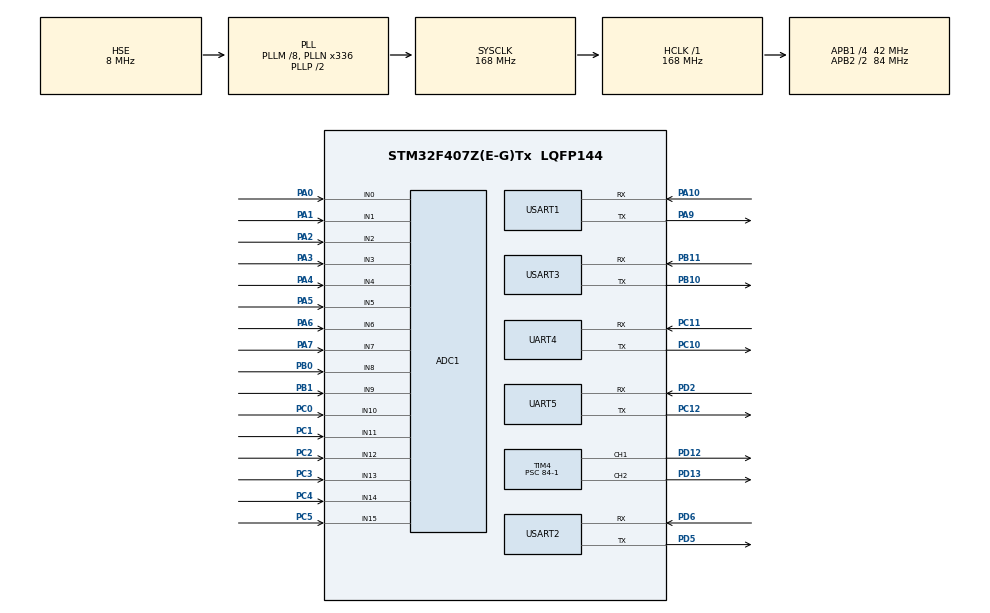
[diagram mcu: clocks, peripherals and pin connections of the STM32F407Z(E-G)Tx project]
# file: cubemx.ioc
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ADC1.Channel-62\#ChannelRegularConversion=ADC_CHANNEL_0
ADC1.Channel-63\#ChannelRegularConversion=ADC_CHANNEL_1
ADC1.Channel-64\#ChannelRegularConversion=ADC_CHANNEL_2
ADC1.Channel-65\#ChannelRegularConversion=ADC_CHANNEL_3
ADC1.Channel-66\#ChannelRegularConversion=ADC_CHANNEL_4
ADC1.Channel-67\#ChannelRegularConversion=ADC_CHANNEL_5
ADC1.Channel-68\#ChannelRegularConversion=ADC_CHANNEL_6
ADC1.Channel-69\#ChannelRegularConversion=ADC_CHANNEL_7
ADC1.Channel-70\#ChannelRegularConversion=ADC_CHANNEL_8
ADC1.Channel-71\#ChannelRegularConversion=ADC_CHANNEL_9
ADC1.Channel-72\#ChannelRegularConversion=ADC_CHANNEL_10
ADC1.Channel-73\#ChannelRegularConversion=ADC_CHANNEL_11
ADC1.Channel-74\#ChannelRegularConversion=ADC_CHANNEL_12
ADC1.Channel-75\#ChannelRegularConversion=ADC_CHANNEL_13
ADC1.Channel-76\#ChannelRegularConversion=ADC_CHANNEL_14
ADC1.Channel-77\#ChannelRegularConversion=ADC_CHANNEL_15
ADC1.DMAContinuousRequests=ENABLE
ADC1.EOCSelection=ADC_EOC_SEQ_CONV
ADC1.ExternalTrigConv=ADC_EXTERNALTRIGCONV_T3_TRGO
ADC1.NbrOfConversion=16
ADC1.NbrOfConversionFlag=1
ADC1.Rank-62\#ChannelRegularConversion=1
ADC1.Rank-63\#ChannelRegularConversion=2
ADC1.Rank-64\#ChannelRegularConversion=3
ADC1.Rank-65\#ChannelRegularConversion=4
ADC1.Rank-66\#ChannelRegularConversion=5
ADC1.Rank-67\#ChannelRegularConversion=6
ADC1.Rank-68\#ChannelRegularConversion=7
ADC1.Rank-69\#ChannelRegularConversion=8
ADC1.Rank-70\#ChannelRegularConversion=9
ADC1.Rank-71\#ChannelRegularConversion=10
ADC1.Rank-72\#ChannelRegularConversion=11
ADC1.Rank-73\#ChannelRegularConversion=12
ADC1.Rank-74\#ChannelRegularConversion=13
ADC1.Rank-75\#ChannelRegularConversion=14
ADC1.Rank-76\#ChannelRegularConversion=15
ADC1.Rank-77\#ChannelRegularConversion=16
ADC1.SamplingTime-62\#ChannelRegularConversion=ADC_SAMPLETIME_3CYCLES
ADC1.SamplingTime-63\#ChannelRegularConversion=ADC_SAMPLETIME_3CYCLES
ADC1.SamplingTime-64\#ChannelRegularConversion=ADC_SAMPLETIME_3CYCLES
ADC1.SamplingTime-65\#ChannelRegularConversion=ADC_SAMPLETIME_3CYCLES
ADC1.SamplingTime-66\#ChannelRegularConversion=ADC_SAMPLETIME_3CYCLES
ADC1.SamplingTime-67\#ChannelRegularConversion=ADC_SAMPLETIME_3CYCLES
ADC1.SamplingTime-68\#ChannelRegularConversion=ADC_SAMPLETIME_3CYCLES
ADC1.SamplingTime-69\#ChannelRegularConversion=ADC_SAMPLETIME_3CYCLES
ADC1.SamplingTime-70\#ChannelRegularConversion=ADC_SAMPLETIME_3CYCLES
ADC1.SamplingTime-71\#ChannelRegularConversion=ADC_SAMPLETIME_3CYCLES
ADC1.SamplingTime-72\#ChannelRegularConversion=ADC_SAMPLETIME_3CYCLES
ADC1.SamplingTime-73\#ChannelRegularConversion=ADC_SAMPLETIME_3CYCLES
ADC1.SamplingTime-74\#ChannelRegularConversion=ADC_SAMPLETIME_3CYCLES
ADC1.SamplingTime-75\#ChannelRegularConversion=ADC_SAMPLETIME_3CYCLES
ADC1.SamplingTime-76\#ChannelRegularConversion=ADC_SAMPLETIME_3CYCLES
ADC1.SamplingTime-77\#ChannelRegularConversion=ADC_SAMPLETIME_3CYCLES
ADC1.ScanConvMode=ENABLE
ADC1.master=1
Dma.ADC1.10.Direction=DMA_PERIPH_TO_MEMORY
Dma.ADC1.10.FIFOMode=DMA_FIFOMODE_DISABLE
Dma.ADC1.10.Instance=DMA2_Stream0
Dma.ADC1.10.MemDataAlignment=DMA_MDATAALIGN_WORD
Dma.ADC1.10.MemInc=DMA_MINC_ENABLE
Dma.ADC1.10.Mode=DMA_CIRCULAR
Dma.ADC1.10.PeriphDataAlignment=DMA_PDATAALIGN_WORD
Dma.ADC1.10.PeriphInc=DMA_PINC_DISABLE
Dma.ADC1.10.Priority=DMA_PRIORITY_LOW
Dma.Request0=USART1_RX
Dma.Request1=USART1_TX
Dma.Request10=ADC1
Dma.Request2=USART2_RX
Dma.Request3=USART2_TX
Dma.Request4=USART3_RX
Dma.Request5=USART3_TX
Dma.Request6=UART4_RX
Dma.Request7=UART4_TX
Dma.Request8=UART5_RX
Dma.Request9=UART5_TX
Dma.UART4_RX.6.Direction=DMA_PERIPH_TO_MEMORY
Dma.UART4_RX.6.FIFOMode=DMA_FIFOMODE_DISABLE
Dma.UART4_RX.6.Instance=DMA1_Stream2
Dma.UART4_RX.6.MemDataAlignment=DMA_MDATAALIGN_BYTE
Dma.UART4_RX.6.MemInc=DMA_MINC_ENABLE
Dma.UART4_RX.6.Mode=DMA_NORMAL
Dma.UART4_RX.6.PeriphDataAlignment=DMA_PDATAALIGN_BYTE
Dma.UART4_RX.6.PeriphInc=DMA_PINC_DISABLE
Dma.UART4_RX.6.Priority=DMA_PRIORITY_LOW
Dma.UART4_TX.7.Direction=DMA_MEMORY_TO_PERIPH
Dma.UART4_TX.7.FIFOMode=DMA_FIFOMODE_DISABLE
Dma.UART4_TX.7.Instance=DMA1_Stream4
Dma.UART4_TX.7.MemDataAlignment=DMA_MDATAALIGN_BYTE
Dma.UART4_TX.7.MemInc=DMA_MINC_ENABLE
Dma.UART4_TX.7.Mode=DMA_NORMAL
Dma.UART4_TX.7.PeriphDataAlignment=DMA_PDATAALIGN_BYTE
Dma.UART4_TX.7.PeriphInc=DMA_PINC_DISABLE
Dma.UART4_TX.7.Priority=DMA_PRIORITY_LOW
Dma.UART5_RX.8.Direction=DMA_PERIPH_TO_MEMORY
Dma.UART5_RX.8.FIFOMode=DMA_FIFOMODE_DISABLE
Dma.UART5_RX.8.Instance=DMA1_Stream0
Dma.UART5_RX.8.MemDataAlignment=DMA_MDATAALIGN_BYTE
Dma.UART5_RX.8.MemInc=DMA_MINC_ENABLE
Dma.UART5_RX.8.Mode=DMA_NORMAL
Dma.UART5_RX.8.PeriphDataAlignment=DMA_PDATAALIGN_BYTE
Dma.UART5_RX.8.PeriphInc=DMA_PINC_DISABLE
Dma.UART5_RX.8.Priority=DMA_PRIORITY_LOW
Dma.UART5_TX.9.Direction=DMA_MEMORY_TO_PERIPH
Dma.UART5_TX.9.FIFOMode=DMA_FIFOMODE_DISABLE
Dma.UART5_TX.9.Instance=DMA1_Stream7
Dma.UART5_TX.9.MemDataAlignment=DMA_MDATAALIGN_BYTE
Dma.UART5_TX.9.MemInc=DMA_MINC_ENABLE
Dma.UART5_TX.9.Mode=DMA_NORMAL
Dma.UART5_TX.9.PeriphDataAlignment=DMA_PDATAALIGN_BYTE
Dma.UART5_TX.9.PeriphInc=DMA_PINC_DISABLE
Dma.UART5_TX.9.Priority=DMA_PRIORITY_LOW
Dma.USART1_RX.0.Direction=DMA_PERIPH_TO_MEMORY
Dma.USART1_RX.0.FIFOMode=DMA_FIFOMODE_DISABLE
Dma.USART1_RX.0.Instance=DMA2_Stream2
Dma.USART1_RX.0.MemDataAlignment=DMA_MDATAALIGN_BYTE
Dma.USART1_RX.0.MemInc=DMA_MINC_ENABLE
Dma.USART1_RX.0.Mode=DMA_NORMAL
Dma.USART1_RX.0.PeriphDataAlignment=DMA_PDATAALIGN_BYTE
Dma.USART1_RX.0.PeriphInc=DMA_PINC_DISABLE
Dma.USART1_RX.0.Priority=DMA_PRIORITY_LOW
Dma.USART1_TX.1.Direction=DMA_MEMORY_TO_PERIPH
Dma.USART1_TX.1.FIFOMode=DMA_FIFOMODE_DISABLE
Dma.USART1_TX.1.Instance=DMA2_Stream7
Dma.USART1_TX.1.MemDataAlignment=DMA_MDATAALIGN_BYTE
Dma.USART1_TX.1.MemInc=DMA_MINC_ENABLE
Dma.USART1_TX.1.Mode=DMA_NORMAL
Dma.USART1_TX.1.PeriphDataAlignment=DMA_PDATAALIGN_BYTE
Dma.USART1_TX.1.PeriphInc=DMA_PINC_DISABLE
Dma.USART1_TX.1.Priority=DMA_PRIORITY_LOW
Dma.USART2_RX.2.Direction=DMA_PERIPH_TO_MEMORY
Dma.USART2_RX.2.FIFOMode=DMA_FIFOMODE_DISABLE
Dma.USART2_RX.2.Instance=DMA1_Stream5
Dma.USART2_RX.2.MemDataAlignment=DMA_MDATAALIGN_BYTE
Dma.USART2_RX.2.MemInc=DMA_MINC_ENABLE
Dma.USART2_RX.2.Mode=DMA_NORMAL
Dma.USART2_RX.2.PeriphDataAlignment=DMA_PDATAALIGN_BYTE
Dma.USART2_RX.2.PeriphInc=DMA_PINC_DISABLE
Dma.USART2_RX.2.Priority=DMA_PRIORITY_LOW
Dma.USART2_TX.3.Direction=DMA_MEMORY_TO_PERIPH
Dma.USART2_TX.3.FIFOMode=DMA_FIFOMODE_DISABLE
Dma.USART2_TX.3.Instance=DMA1_Stream6
Dma.USART2_TX.3.MemDataAlignment=DMA_MDATAALIGN_BYTE
Dma.USART2_TX.3.MemInc=DMA_MINC_ENABLE
Dma.USART2_TX.3.Mode=DMA_NORMAL
Dma.USART2_TX.3.PeriphDataAlignment=DMA_PDATAALIGN_BYTE
Dma.USART2_TX.3.PeriphInc=DMA_PINC_DISABLE
Dma.USART2_TX.3.Priority=DMA_PRIORITY_LOW
Dma.USART3_RX.4.Direction=DMA_PERIPH_TO_MEMORY
Dma.USART3_RX.4.FIFOMode=DMA_FIFOMODE_DISABLE
Dma.USART3_RX.4.Instance=DMA1_Stream1
Dma.USART3_RX.4.MemDataAlignment=DMA_MDATAALIGN_BYTE
Dma.USART3_RX.4.MemInc=DMA_MINC_ENABLE
Dma.USART3_RX.4.Mode=DMA_NORMAL
Dma.USART3_RX.4.PeriphDataAlignment=DMA_PDATAALIGN_BYTE
Dma.USART3_RX.4.PeriphInc=DMA_PINC_DISABLE
Dma.USART3_RX.4.Priority=DMA_PRIORITY_LOW
Dma.USART3_TX.5.Direction=DMA_MEMORY_TO_PERIPH
Dma.USART3_TX.5.FIFOMode=DMA_FIFOMODE_DISABLE
Dma.USART3_TX.5.Instance=DMA1_Stream3
Dma.USART3_TX.5.MemDataAlignment=DMA_MDATAALIGN_BYTE
Dma.USART3_TX.5.MemInc=DMA_MINC_ENABLE
Dma.USART3_TX.5.Mode=DMA_NORMAL
Dma.USART3_TX.5.PeriphDataAlignment=DMA_PDATAALIGN_BYTE
Dma.USART3_TX.5.PeriphInc=DMA_PINC_DISABLE
Dma.USART3_TX.5.Priority=DMA_PRIORITY_LOW
FREERTOS.INCLUDE_eTaskGetState=1
FREERTOS.INCLUDE_pcTaskGetTaskName=1
FREERTOS.INCLUDE_uxTaskGetStackHighWaterMark=1
FREERTOS.INCLUDE_vTaskDelayUntil=1
FREERTOS.INCLUDE_xEventGroupSetBitFromISR=1
FREERTOS.INCLUDE_xTimerPendFunctionCall=1
FREERTOS.Tasks01=defaultTask,0,128,StartDefaultTask,Default,NULL,Dynamic,NULL,NULL;app_init,0,1024,app_init_thread,Default,NULL,Dynamic,NULL,NULL
FREERTOS.configTIMER_QUEUE_LENGTH=20
FREERTOS.configTIMER_TASK_STACK_DEPTH=1024
FREERTOS.configTOTAL_HEAP_SIZE=81920
FREERTOS.configUSE_TIMERS=1
Mcu.Family=STM32F4
Mcu.Name=STM32F407Z(E-G)Tx
Mcu.Package=LQFP144
NVIC.DMA1_Stream0_IRQn=true\:5\:0\:false\:false\:true\:true\:false\:true\:true
NVIC.DMA1_Stream1_IRQn=true\:5\:0\:false\:false\:true\:true\:false\:true\:true
NVIC.DMA1_Stream2_IRQn=true\:5\:0\:false\:false\:true\:true\:false\:true\:true
NVIC.DMA1_Stream3_IRQn=true\:5\:0\:false\:false\:true\:true\:false\:true\:true
NVIC.DMA1_Stream4_IRQn=true\:5\:0\:false\:false\:true\:true\:false\:true\:true
NVIC.DMA1_Stream5_IRQn=true\:5\:0\:false\:false\:true\:true\:false\:true\:true
NVIC.DMA1_Stream6_IRQn=true\:5\:0\:false\:false\:true\:true\:false\:true\:true
NVIC.DMA1_Stream7_IRQn=true\:5\:0\:false\:false\:true\:true\:false\:true\:true
NVIC.DMA2_Stream0_IRQn=true\:5\:0\:false\:false\:true\:true\:false\:true\:true
NVIC.DMA2_Stream2_IRQn=true\:5\:0\:false\:false\:true\:true\:false\:true\:true
NVIC.DMA2_Stream7_IRQn=true\:5\:0\:false\:false\:true\:true\:false\:true\:true
NVIC.PriorityGroup=NVIC_PRIORITYGROUP_4
NVIC.TIM1_UP_TIM10_IRQn=true\:15\:0\:false\:false\:true\:false\:false\:true\:true
NVIC.TIM6_DAC_IRQn=true\:5\:0\:false\:false\:true\:true\:true\:true\:true
NVIC.TimeBase=TIM1_UP_TIM10_IRQn
NVIC.TimeBaseIP=TIM1
NVIC.UART4_IRQn=true\:5\:0\:false\:false\:true\:true\:true\:true\:true
NVIC.UART5_IRQn=true\:5\:0\:false\:false\:true\:true\:true\:true\:true
NVIC.USART1_IRQn=true\:5\:0\:false\:false\:true\:true\:true\:true\:true
NVIC.USART2_IRQn=true\:5\:0\:false\:false\:true\:true\:true\:true\:true
NVIC.USART3_IRQn=true\:5\:0\:false\:false\:true\:true\:true\:true\:true
PA0-WKUP.Signal=ADCx_IN0
PA1.Signal=ADCx_IN1
PA10.GPIO_PuPd=GPIO_PULLUP
PA10.Mode=Asynchronous
PA10.Signal=USART1_RX
PA13.Mode=Serial_Wire
PA13.Signal=SYS_JTMS-SWDIO
PA14.Mode=Serial_Wire
PA14.Signal=SYS_JTCK-SWCLK
PA2.Signal=ADCx_IN2
PA3.Signal=ADCx_IN3
PA4.Signal=ADCx_IN4
PA5.Signal=ADCx_IN5
PA6.Signal=ADCx_IN6
PA7.Signal=ADCx_IN7
PA9.GPIO_PuPd=GPIO_PULLUP
PA9.Mode=Asynchronous
PA9.Signal=USART1_TX
PB0.Signal=ADCx_IN8
PB1.Signal=ADCx_IN9
PB10.GPIO_PuPd=GPIO_PULLUP
PB10.Mode=Asynchronous
PB10.Signal=USART3_TX
PB11.GPIO_PuPd=GPIO_PULLUP
PB11.Mode=Asynchronous
PB11.Signal=USART3_RX
PC0.Signal=ADCx_IN10
PC1.Signal=ADCx_IN11
PC10.GPIO_PuPd=GPIO_PULLUP
PC10.Mode=Asynchronous
PC10.Signal=UART4_TX
PC11.GPIO_PuPd=GPIO_PULLUP
PC11.Mode=Asynchronous
PC11.Signal=UART4_RX
PC12.GPIO_PuPd=GPIO_PULLUP
PC12.Mode=Asynchronous
PC12.Signal=UART5_TX
PC2.Signal=ADCx_IN12
PC3.Signal=ADCx_IN13
PC4.Signal=ADCx_IN14
PC5.Signal=ADCx_IN15
PD12.GPIO_PuPd=GPIO_PULLUP
PD12.GPIO_Speed=GPIO_SPEED_FREQ_VERY_HIGH
PD12.Signal=S_TIM4_CH1
PD13.GPIO_PuPd=GPIO_PULLUP
PD13.GPIO_Speed=GPIO_SPEED_FREQ_VERY_HIGH
PD13.Signal=S_TIM4_CH2
PD2.GPIO_PuPd=GPIO_PULLUP
PD2.Mode=Asynchronous
PD2.Signal=UART5_RX
PD5.GPIO_PuPd=GPIO_PULLUP
PD5.Mode=Asynchronous
PD5.Signal=USART2_TX
PD6.GPIO_PuPd=GPIO_PULLUP
PD6.Mode=Asynchronous
PD6.Signal=USART2_RX
PH0-OSC_IN.Mode=HSE-External-Oscillator
PH0-OSC_IN.Signal=RCC_OSC_IN
PH1-OSC_OUT.Mode=HSE-External-Oscillator
PH1-OSC_OUT.Signal=RCC_OSC_OUT
ProjectManager.HeapSize=0x200
ProjectManager.StackSize=0x400
ProjectManager.TargetToolchain=MDK-ARM V5
RCC.48MHZClocksFreq_Value=84000000
RCC.AHBFreq_Value=168000000
RCC.APB1CLKDivider=RCC_HCLK_DIV4
RCC.APB1Freq_Value=42000000
RCC.APB1TimFreq_Value=84000000
RCC.APB2CLKDivider=RCC_HCLK_DIV2
RCC.APB2Freq_Value=84000000
RCC.APB2TimFreq_Value=168000000
RCC.CortexFreq_Value=168000000
RCC.HCLKFreq_Value=168000000
RCC.HSE_VALUE=8000000
RCC.HSI_VALUE=16000000
RCC.LSE_VALUE=32768
RCC.PLLM=8
RCC.PLLN=336
RCC.PLLSourceVirtual=RCC_PLLSOURCE_HSE
RCC.SYSCLKFreq_VALUE=168000000
RCC.SYSCLKSource=RCC_SYSCLKSOURCE_PLLCLK
RCC.VCOOutputFreq_Value=336000000
SH.ADCx_IN0.0=ADC1_IN0,IN0
SH.ADCx_IN1.0=ADC1_IN1,IN1
SH.ADCx_IN10.0=ADC1_IN10,IN10
SH.ADCx_IN11.0=ADC1_IN11,IN11
SH.ADCx_IN12.0=ADC1_IN12,IN12
SH.ADCx_IN13.0=ADC1_IN13,IN13
SH.ADCx_IN14.0=ADC1_IN14,IN14
SH.ADCx_IN15.0=ADC1_IN15,IN15
SH.ADCx_IN2.0=ADC1_IN2,IN2
SH.ADCx_IN3.0=ADC1_IN3,IN3
SH.ADCx_IN4.0=ADC1_IN4,IN4
SH.ADCx_IN5.0=ADC1_IN5,IN5
SH.ADCx_IN6.0=ADC1_IN6,IN6
SH.ADCx_IN7.0=ADC1_IN7,IN7
SH.ADCx_IN8.0=ADC1_IN8,IN8
SH.ADCx_IN9.0=ADC1_IN9,IN9
SH.S_TIM4_CH1.0=TIM4_CH1,PWM Generation1 CH1
SH.S_TIM4_CH2.0=TIM4_CH2,PWM Generation2 CH2
STMicroelectronics.X-CUBE-ALGOBUILD.1.5.0.LibraryCcDSPOoLibraryJjDSPOoLibrary=true
TIM3.AutoReloadPreload=TIM_AUTORELOAD_PRELOAD_ENABLE
TIM3.Period=200-1
TIM3.Prescaler=420-1
TIM3.TIM_MasterOutputTrigger=TIM_TRGO_UPDATE
TIM4.AutoReloadPreload=TIM_AUTORELOAD_PRELOAD_ENABLE
TIM4.Channel-PWM\ Generation1\ CH1=TIM_CHANNEL_1
TIM4.Channel-PWM\ Generation2\ CH2=TIM_CHANNEL_2
TIM4.OC1Preload_PWM=DISABLE
TIM4.OC2Preload_PWM=DISABLE
TIM4.Period=10000
TIM4.Prescaler=84-1
TIM4.Pulse-PWM\ Generation1\ CH1=7500
TIM4.Pulse-PWM\ Generation2\ CH2=7500
TIM6.Period=1000
TIM6.Prescaler=84-1
UART4.VirtualMode=Asynchronous
UART5.VirtualMode=Asynchronous
USART1.VirtualMode=VM_ASYNC
USART2.VirtualMode=VM_ASYNC
USART3.VirtualMode=VM_ASYNC
VP_FREERTOS_VS_CMSIS_V1.Mode=CMSIS_V1
VP_STMicroelectronics.X-CUBE-ALGOBUILD_VS_DSPOoLibraryJjLibrary_1.5.0_1.5.0.Mode=DSPOoLibraryJjLibrary
VP_SYS_VS_tim1.Mode=TIM1
VP_TIM3_VS_ClockSourceINT.Mode=Internal
VP_TIM4_VS_ClockSourceINT.Mode=Internal
VP_TIM6_VS_ClockSourceINT.Mode=Enable_Timer
board=custom

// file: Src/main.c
/* USER CODE BEGIN Header */
/**
  ******************************************************************************
  * @file           : main.c
  * @brief          : Main program body
  ******************************************************************************
  * @attention
  *
  * Copyright (c) 2026 STMicroelectronics.
  * All rights reserved.
  *
  * This software is licensed under terms that can be found in the LICENSE file
  * in the root directory of this software component.
  * If no LICENSE file comes with this software, it is provided AS-IS.
  *
  ******************************************************************************
  */
/* USER CODE END Header */
#include "main.h"
#include "cmsis_os.h"
#include "m_collector.h"
#include "m_acm.h"
#include "m_uart_traffic.h"
#include "drv_led.h"
#include "drv_sv.h"
#include "drv_air_pump.h"
#include "drv_heater.h"
#include "m_protocol.h"
#include "drv_tmp_sensor.h"

ADC_HandleTypeDef hadc1;
DMA_HandleTypeDef hdma_adc1;

TIM_HandleTypeDef htim3;
TIM_HandleTypeDef htim4;
TIM_HandleTypeDef htim6;

UART_HandleTypeDef huart4;
UART_HandleTypeDef huart5;
UART_HandleTypeDef huart1;
UART_HandleTypeDef huart2;
UART_HandleTypeDef huart3;
DMA_HandleTypeDef hdma_uart4_rx;
DMA_HandleTypeDef hdma_uart4_tx;
DMA_HandleTypeDef hdma_uart5_rx;
DMA_HandleTypeDef hdma_uart5_tx;
DMA_HandleTypeDef hdma_usart1_rx;
DMA_HandleTypeDef hdma_usart1_tx;
DMA_HandleTypeDef hdma_usart2_rx;
DMA_HandleTypeDef hdma_usart2_tx;
DMA_HandleTypeDef hdma_usart3_rx;
DMA_HandleTypeDef hdma_usart3_tx;

osThreadId defaultTaskHandle;
osThreadId app_initHandle;

void SystemClock_Config(void);
static void MX_GPIO_Init(void);
static void MX_DMA_Init(void);
static void MX_ADC1_Init(void);
static void MX_TIM3_Init(void);
static void MX_TIM4_Init(void);
static void MX_USART1_UART_Init(void);
static void MX_USART2_UART_Init(void);
static void MX_USART3_UART_Init(void);
static void MX_UART4_Init(void);
static void MX_UART5_Init(void);
static void MX_TIM6_Init(void);
void StartDefaultTask(void const * argument);
void app_init_thread(void const * argument);

int main(void)
{

  /* MCU Configuration--------------------------------------------------------*/

  /* Reset of all peripherals, Initializes the Flash interface and the Systick. */
  HAL_Init();

  /* Configure the system clock */
  SystemClock_Config();

  /* Initialize all configured peripherals */
  MX_GPIO_Init();
  MX_DMA_Init();
  MX_ADC1_Init();
  MX_TIM3_Init();
  MX_TIM4_Init();
  MX_USART1_UART_Init();
  MX_USART2_UART_Init();
  MX_USART3_UART_Init();
  MX_UART4_Init();
  MX_UART5_Init();
  MX_TIM6_Init();
  /* USER CODE BEGIN 2 */

	HAL_TIM_PWM_Stop(&htim4, TIM_CHANNEL_2); //左气泵
	HAL_TIM_PWM_Stop(&htim4, TIM_CHANNEL_3); //右气泵

	drv_led_init(); //LED初始化

	drv_heater_init();//加热器初始化

	drv_air_pump_init(); //气泵初始化

	drv_solenoid_valve_init(); //气阀初始化

	m_acm_init();  //ACM(气囊管理)模块初始化

	m_collector_init(); //ADC采集线程

	m_uart_traffic_init(); //UART线程
  /* USER CODE END 2 */

  /* Create the thread(s) */
  /* definition and creation of defaultTask */
  osThreadDef(defaultTask, StartDefaultTask, osPriorityNormal, 0, 128);
  defaultTaskHandle = osThreadCreate(osThread(defaultTask), NULL);

  /* definition and creation of app_init */
  osThreadDef(app_init, app_init_thread, osPriorityNormal, 0, 256);
  app_initHandle = osThreadCreate(osThread(app_init), NULL);

  /* Start scheduler */
  osKernelStart();

  /* We should never get here as control is now taken by the scheduler */

  /* Infinite loop */
  while (1)
  {

  }
}

void SystemClock_Config(void)
{
  RCC_OscInitTypeDef RCC_OscInitStruct = {0};
  RCC_ClkInitTypeDef RCC_ClkInitStruct = {0};

  /** Configure the main internal regulator output voltage
  */
  __HAL_RCC_PWR_CLK_ENABLE();
  __HAL_PWR_VOLTAGESCALING_CONFIG(PWR_REGULATOR_VOLTAGE_SCALE1);

  /** Initializes the RCC Oscillators according to the specified parameters
  * in the RCC_OscInitTypeDef structure.
  */
  RCC_OscInitStruct.OscillatorType = RCC_OSCILLATORTYPE_HSE;
  RCC_OscInitStruct.HSEState = RCC_HSE_ON;
  RCC_OscInitStruct.PLL.PLLState = RCC_PLL_ON;
  RCC_OscInitStruct.PLL.PLLSource = RCC_PLLSOURCE_HSE;
  RCC_OscInitStruct.PLL.PLLM = 8;
  RCC_OscInitStruct.PLL.PLLN = 336;
  RCC_OscInitStruct.PLL.PLLP = RCC_PLLP_DIV2;
  RCC_OscInitStruct.PLL.PLLQ = 4;
  if (HAL_RCC_OscConfig(&RCC_OscInitStruct) != HAL_OK)
  {
    Error_Handler();
  }

  /** Initializes the CPU, AHB and APB buses clocks
  */
  RCC_ClkInitStruct.ClockType = RCC_CLOCKTYPE_HCLK|RCC_CLOCKTYPE_SYSCLK
                              |RCC_CLOCKTYPE_PCLK1|RCC_CLOCKTYPE_PCLK2;
  RCC_ClkInitStruct.SYSCLKSource = RCC_SYSCLKSOURCE_PLLCLK;
  RCC_ClkInitStruct.AHBCLKDivider = RCC_SYSCLK_DIV1;
  RCC_ClkInitStruct.APB1CLKDivider = RCC_HCLK_DIV4;
  RCC_ClkInitStruct.APB2CLKDivider = RCC_HCLK_DIV2;

  if (HAL_RCC_ClockConfig(&RCC_ClkInitStruct, FLASH_LATENCY_5) != HAL_OK)
  {
    Error_Handler();
  }
}

static void MX_ADC1_Init(void)
{

  ADC_ChannelConfTypeDef sConfig = {0};

  /** Configure the global features of the ADC (Clock, Resolution, Data Alignment and number of conversion)
  */
  hadc1.Instance = ADC1;
  hadc1.Init.ClockPrescaler = ADC_CLOCK_SYNC_PCLK_DIV4;
  hadc1.Init.Resolution = ADC_RESOLUTION_12B;
  hadc1.Init.ScanConvMode = ENABLE;
  hadc1.Init.ContinuousConvMode = DISABLE;
  hadc1.Init.DiscontinuousConvMode = DISABLE;
  hadc1.Init.ExternalTrigConvEdge = ADC_EXTERNALTRIGCONVEDGE_RISING;
  hadc1.Init.ExternalTrigConv = ADC_EXTERNALTRIGCONV_T3_TRGO;
  hadc1.Init.DataAlign = ADC_DATAALIGN_RIGHT;
  hadc1.Init.NbrOfConversion = 16;
  hadc1.Init.DMAContinuousRequests = ENABLE;
  hadc1.Init.EOCSelection = ADC_EOC_SEQ_CONV;
  if (HAL_ADC_Init(&hadc1) != HAL_OK)
  {
    Error_Handler();
  }

  /** Configure for the selected ADC regular channel its corresponding rank in the sequencer and its sample time.
  */
  sConfig.Channel = ADC_CHANNEL_0;
  sConfig.Rank = 1;
  sConfig.SamplingTime = ADC_SAMPLETIME_3CYCLES;
  if (HAL_ADC_ConfigChannel(&hadc1, &sConfig) != HAL_OK)
  {
    Error_Handler();
  }

  /** Configure for the selected ADC regular channel its corresponding rank in the sequencer and its sample time.
  */
  sConfig.Channel = ADC_CHANNEL_1;
  sConfig.Rank = 2;
  if (HAL_ADC_ConfigChannel(&hadc1, &sConfig) != HAL_OK)
  {
    Error_Handler();
  }

  /** Configure for the selected ADC regular channel its corresponding rank in the sequencer and its sample time.
  */
  sConfig.Channel = ADC_CHANNEL_2;
  sConfig.Rank = 3;
  if (HAL_ADC_ConfigChannel(&hadc1, &sConfig) != HAL_OK)
  {
    Error_Handler();
  }

  /** Configure for the selected ADC regular channel its corresponding rank in the sequencer and its sample time.
  */
  sConfig.Channel = ADC_CHANNEL_3;
  sConfig.Rank = 4;
  if (HAL_ADC_ConfigChannel(&hadc1, &sConfig) != HAL_OK)
  {
    Error_Handler();
  }

  /** Configure for the selected ADC regular channel its corresponding rank in the sequencer and its sample time.
  */
  sConfig.Channel = ADC_CHANNEL_4;
  sConfig.Rank = 5;
  if (HAL_ADC_ConfigChannel(&hadc1, &sConfig) != HAL_OK)
  {
    Error_Handler();
  }

  /** Configure for the selected ADC regular channel its corresponding rank in the sequencer and its sample time.
  */
  sConfig.Channel = ADC_CHANNEL_5;
  sConfig.Rank = 6;
  if (HAL_ADC_ConfigChannel(&hadc1, &sConfig) != HAL_OK)
  {
    Error_Handler();
  }

  /** Configure for the selected ADC regular channel its corresponding rank in the sequencer and its sample time.
  */
  sConfig.Channel = ADC_CHANNEL_6;
  sConfig.Rank = 7;
  if (HAL_ADC_ConfigChannel(&hadc1, &sConfig) != HAL_OK)
  {
    Error_Handler();
  }

  /** Configure for the selected ADC regular channel its corresponding rank in the sequencer and its sample time.
  */
  sConfig.Channel = ADC_CHANNEL_7;
  sConfig.Rank = 8;
  if (HAL_ADC_ConfigChannel(&hadc1, &sConfig) != HAL_OK)
  {
    Error_Handler();
  }

  /** Configure for the selected ADC regular channel its corresponding rank in the sequencer and its sample time.
  */
  sConfig.Channel = ADC_CHANNEL_8;
  sConfig.Rank = 9;
  if (HAL_ADC_ConfigChannel(&hadc1, &sConfig) != HAL_OK)
  {
    Error_Handler();
  }

  /** Configure for the selected ADC regular channel its corresponding rank in the sequencer and its sample time.
  */
  sConfig.Channel = ADC_CHANNEL_9;
  sConfig.Rank = 10;
  if (HAL_ADC_ConfigChannel(&hadc1, &sConfig) != HAL_OK)
  {
    Error_Handler();
  }

  /** Configure for the selected ADC regular channel its corresponding rank in the sequencer and its sample time.
  */
  sConfig.Channel = ADC_CHANNEL_10;
  sConfig.Rank = 11;
  if (HAL_ADC_ConfigChannel(&hadc1, &sConfig) != HAL_OK)
  {
    Error_Handler();
  }

  /** Configure for the selected ADC regular channel its corresponding rank in the sequencer and its sample time.
  */
  sConfig.Channel = ADC_CHANNEL_11;
  sConfig.Rank = 12;
  if (HAL_ADC_ConfigChannel(&hadc1, &sConfig) != HAL_OK)
  {
    Error_Handler();
  }

  /** Configure for the selected ADC regular channel its corresponding rank in the sequencer and its sample time.
  */
  sConfig.Channel = ADC_CHANNEL_12;
  sConfig.Rank = 13;
  if (HAL_ADC_ConfigChannel(&hadc1, &sConfig) != HAL_OK)
  {
    Error_Handler();
  }

  /** Configure for the selected ADC regular channel its corresponding rank in the sequencer and its sample time.
  */
  sConfig.Channel = ADC_CHANNEL_13;
  sConfig.Rank = 14;
  if (HAL_ADC_ConfigChannel(&hadc1, &sConfig) != HAL_OK)
  {
    Error_Handler();
  }

  /** Configure for the selected ADC regular channel its corresponding rank in the sequencer and its sample time.
  */
  sConfig.Channel = ADC_CHANNEL_14;
  sConfig.Rank = 15;
  if (HAL_ADC_ConfigChannel(&hadc1, &sConfig) != HAL_OK)
  {
    Error_Handler();
  }

  /** Configure for the selected ADC regular channel its corresponding rank in the sequencer and its sample time.
  */
  sConfig.Channel = ADC_CHANNEL_15;
  sConfig.Rank = 16;
  if (HAL_ADC_ConfigChannel(&hadc1, &sConfig) != HAL_OK)
  {
    Error_Handler();
  }

}

static void MX_TIM3_Init(void)//Tim3_1ms
{

  TIM_ClockConfigTypeDef sClockSourceConfig = {0};
  TIM_MasterConfigTypeDef sMasterConfig = {0};

  htim3.Instance = TIM3;
  htim3.Init.Prescaler = 420-1;
  htim3.Init.CounterMode = TIM_COUNTERMODE_UP;
  htim3.Init.Period = 200-1;
  htim3.Init.ClockDivision = TIM_CLOCKDIVISION_DIV1;
  htim3.Init.AutoReloadPreload = TIM_AUTORELOAD_PRELOAD_ENABLE;
  if (HAL_TIM_Base_Init(&htim3) != HAL_OK)
  {
    Error_Handler();
  }
  sClockSourceConfig.ClockSource = TIM_CLOCKSOURCE_INTERNAL;
  if (HAL_TIM_ConfigClockSource(&htim3, &sClockSourceConfig) != HAL_OK)
  {
    Error_Handler();
  }
  sMasterConfig.MasterOutputTrigger = TIM_TRGO_UPDATE;
  sMasterConfig.MasterSlaveMode = TIM_MASTERSLAVEMODE_DISABLE;
  if (HAL_TIMEx_MasterConfigSynchronization(&htim3, &sMasterConfig) != HAL_OK)
  {
    Error_Handler();
  }

}

static void MX_TIM4_Init(void)//Tim4_10ms
{

  TIM_ClockConfigTypeDef sClockSourceConfig = {0};
  TIM_MasterConfigTypeDef sMasterConfig = {0};
  TIM_OC_InitTypeDef sConfigOC = {0};

  htim4.Instance = TIM4;
  htim4.Init.Prescaler = 84-1;
  htim4.Init.CounterMode = TIM_COUNTERMODE_UP;
  htim4.Init.Period = 10000;
  htim4.Init.ClockDivision = TIM_CLOCKDIVISION_DIV1;
  htim4.Init.AutoReloadPreload = TIM_AUTORELOAD_PRELOAD_ENABLE;
  if (HAL_TIM_Base_Init(&htim4) != HAL_OK)
  {
    Error_Handler();
  }
  sClockSourceConfig.ClockSource = TIM_CLOCKSOURCE_INTERNAL;
  if (HAL_TIM_ConfigClockSource(&htim4, &sClockSourceConfig) != HAL_OK)
  {
    Error_Handler();
  }
  if (HAL_TIM_PWM_Init(&htim4) != HAL_OK)
  {
    Error_Handler();
  }
  sMasterConfig.MasterOutputTrigger = TIM_TRGO_RESET;
  sMasterConfig.MasterSlaveMode = TIM_MASTERSLAVEMODE_DISABLE;
  if (HAL_TIMEx_MasterConfigSynchronization(&htim4, &sMasterConfig) != HAL_OK)
  {
    Error_Handler();
  }
  sConfigOC.OCMode = TIM_OCMODE_PWM1;
  sConfigOC.Pulse = 7500;
  sConfigOC.OCPolarity = TIM_OCPOLARITY_HIGH;
  sConfigOC.OCFastMode = TIM_OCFAST_DISABLE;
  if (HAL_TIM_PWM_ConfigChannel(&htim4, &sConfigOC, TIM_CHANNEL_1) != HAL_OK)
  {
    Error_Handler();
  }
  __HAL_TIM_DISABLE_OCxPRELOAD(&htim4, TIM_CHANNEL_1);
  if (HAL_TIM_PWM_ConfigChannel(&htim4, &sConfigOC, TIM_CHANNEL_2) != HAL_OK)
  {
    Error_Handler();
  }
  __HAL_TIM_DISABLE_OCxPRELOAD(&htim4, TIM_CHANNEL_2);
  HAL_TIM_MspPostInit(&htim4);

}

static void MX_TIM6_Init(void)//tim6_21us
{

  TIM_MasterConfigTypeDef sMasterConfig = {0};

  htim6.Instance = TIM6;
  htim6.Init.Prescaler = 84-1;
  htim6.Init.CounterMode = TIM_COUNTERMODE_UP;
  htim6.Init.Period = 20;
  htim6.Init.AutoReloadPreload = TIM_AUTORELOAD_PRELOAD_DISABLE;
  if (HAL_TIM_Base_Init(&htim6) != HAL_OK)
  {
    Error_Handler();
  }
  sMasterConfig.MasterOutputTrigger = TIM_TRGO_RESET;
  sMasterConfig.MasterSlaveMode = TIM_MASTERSLAVEMODE_DISABLE;
  if (HAL_TIMEx_MasterConfigSynchronization(&htim6, &sMasterConfig) != HAL_OK)
  {
    Error_Handler();
  }

}

static void MX_UART4_Init(void)
{

  huart4.Instance = UART4;
  huart4.Init.BaudRate = 115200;
  huart4.Init.WordLength = UART_WORDLENGTH_8B;
  huart4.Init.StopBits = UART_STOPBITS_1;
  huart4.Init.Parity = UART_PARITY_NONE;
  huart4.Init.Mode = UART_MODE_TX_RX;
  huart4.Init.HwFlowCtl = UART_HWCONTROL_NONE;
  huart4.Init.OverSampling = UART_OVERSAMPLING_16;
  if (HAL_UART_Init(&huart4) != HAL_OK)
  {
    Error_Handler();
  }

}

static void MX_UART5_Init(void)
{

  huart5.Instance = UART5;
  huart5.Init.BaudRate = 9600;
  huart5.Init.WordLength = UART_WORDLENGTH_8B;
  huart5.Init.StopBits = UART_STOPBITS_1;
  huart5.Init.Parity = UART_PARITY_NONE;
  huart5.Init.Mode = UART_MODE_TX_RX;
  huart5.Init.HwFlowCtl = UART_HWCONTROL_NONE;
  huart5.Init.OverSampling = UART_OVERSAMPLING_16;
  if (HAL_UART_Init(&huart5) != HAL_OK)
  {
    Error_Handler();
  }

}

static void MX_USART1_UART_Init(void)
{

  huart1.Instance = USART1;
  huart1.Init.BaudRate = 115200;
  huart1.Init.WordLength = UART_WORDLENGTH_8B;
  huart1.Init.StopBits = UART_STOPBITS_1;
  huart1.Init.Parity = UART_PARITY_NONE;
  huart1.Init.Mode = UART_MODE_TX_RX;
  huart1.Init.HwFlowCtl = UART_HWCONTROL_NONE;
  huart1.Init.OverSampling = UART_OVERSAMPLING_16;
  if (HAL_UART_Init(&huart1) != HAL_OK)
  {
    Error_Handler();
  }

}

static void MX_USART2_UART_Init(void)
{

  huart2.Instance = USART2;
  huart2.Init.BaudRate = 115200;
  huart2.Init.WordLength = UART_WORDLENGTH_8B;
  huart2.Init.StopBits = UART_STOPBITS_1;
  huart2.Init.Parity = UART_PARITY_NONE;
  huart2.Init.Mode = UART_MODE_TX_RX;
  huart2.Init.HwFlowCtl = UART_HWCONTROL_NONE;
  huart2.Init.OverSampling = UART_OVERSAMPLING_16;
  if (HAL_UART_Init(&huart2) != HAL_OK)
  {
    Error_Handler();
  }

}

static void MX_USART3_UART_Init(void)
{

  huart3.Instance = USART3;
  huart3.Init.BaudRate = 115200;
  huart3.Init.WordLength = UART_WORDLENGTH_8B;
  huart3.Init.StopBits = UART_STOPBITS_1;
  huart3.Init.Parity = UART_PARITY_NONE;
  huart3.Init.Mode = UART_MODE_TX_RX;
  huart3.Init.HwFlowCtl = UART_HWCONTROL_NONE;
  huart3.Init.OverSampling = UART_OVERSAMPLING_16;
  if (HAL_UART_Init(&huart3) != HAL_OK)
  {
    Error_Handler();
  }

}

static void MX_DMA_Init(void)
{

  /* DMA controller clock enable */
  __HAL_RCC_DMA2_CLK_ENABLE();
  __HAL_RCC_DMA1_CLK_ENABLE();

  /* DMA interrupt init */
  /* DMA1_Stream0_IRQn interrupt configuration */
  HAL_NVIC_SetPriority(DMA1_Stream0_IRQn, 5, 0);
  HAL_NVIC_EnableIRQ(DMA1_Stream0_IRQn);
  /* DMA1_Stream1_IRQn interrupt configuration */
  HAL_NVIC_SetPriority(DMA1_Stream1_IRQn, 5, 0);
  HAL_NVIC_EnableIRQ(DMA1_Stream1_IRQn);
  /* DMA1_Stream2_IRQn interrupt configuration */
  HAL_NVIC_SetPriority(DMA1_Stream2_IRQn, 5, 0);
  HAL_NVIC_EnableIRQ(DMA1_Stream2_IRQn);
  /* DMA1_Stream3_IRQn interrupt configuration */
  HAL_NVIC_SetPriority(DMA1_Stream3_IRQn, 5, 0);
  HAL_NVIC_EnableIRQ(DMA1_Stream3_IRQn);
  /* DMA1_Stream4_IRQn interrupt configuration */
  HAL_NVIC_SetPriority(DMA1_Stream4_IRQn, 5, 0);
  HAL_NVIC_EnableIRQ(DMA1_Stream4_IRQn);
  /* DMA1_Stream5_IRQn interrupt configuration */
  HAL_NVIC_SetPriority(DMA1_Stream5_IRQn, 5, 0);
  HAL_NVIC_EnableIRQ(DMA1_Stream5_IRQn);
  /* DMA1_Stream6_IRQn interrupt configuration */
  HAL_NVIC_SetPriority(DMA1_Stream6_IRQn, 5, 0);
  HAL_NVIC_EnableIRQ(DMA1_Stream6_IRQn);
  /* DMA1_Stream7_IRQn interrupt configuration */
  HAL_NVIC_SetPriority(DMA1_Stream7_IRQn, 5, 0);
  HAL_NVIC_EnableIRQ(DMA1_Stream7_IRQn);
  /* DMA2_Stream0_IRQn interrupt configuration */
  HAL_NVIC_SetPriority(DMA2_Stream0_IRQn, 5, 0);
  HAL_NVIC_EnableIRQ(DMA2_Stream0_IRQn);
  /* DMA2_Stream2_IRQn interrupt configuration */
  HAL_NVIC_SetPriority(DMA2_Stream2_IRQn, 5, 0);
  HAL_NVIC_EnableIRQ(DMA2_Stream2_IRQn);
  /* DMA2_Stream7_IRQn interrupt configuration */
  HAL_NVIC_SetPriority(DMA2_Stream7_IRQn, 5, 0);
  HAL_NVIC_EnableIRQ(DMA2_Stream7_IRQn);

}

static void MX_GPIO_Init(void)
{

  /* GPIO Ports Clock Enable */
  __HAL_RCC_GPIOH_CLK_ENABLE();
  __HAL_RCC_GPIOC_CLK_ENABLE();
  __HAL_RCC_GPIOA_CLK_ENABLE();
  __HAL_RCC_GPIOB_CLK_ENABLE();
  __HAL_RCC_GPIOD_CLK_ENABLE();

}

void StartDefaultTask(void const * argument)
{
  for(;;)
  {
    osDelay(1);
  }
}

void app_init_thread(void const * argument)
{
	static uint8_t tick_cnt=0;
	/* USER CODE BEGIN app_init_thread */
	/* Infinite loop */
	for(;;)
	{
		HAL_GPIO_TogglePin( RUN_LED_PORT, RUN_LED_PIN );
		tick_cnt++;
		if(4==tick_cnt)
		{
			tick_cnt = 0;
			drv_tmp_sensor_query_current_value();
			m_heater_timer_tick_1s();
		}
		osDelay(250);
	}
	/* USER CODE END app_init_thread */
}

void HAL_TIM_PeriodElapsedCallback(TIM_HandleTypeDef *htim)
{
	if (htim->Instance == TIM1)
	{
		HAL_IncTick();
	}

	if (htim->Instance == TIM6)
	{
		m_timer6_ms_irq_callback();
	}

}

void Error_Handler(void)
{
  __disable_irq();
  while (1)
  {
  }
}

void m_set_timer_4_pwm( uint16_t left_value, uint16_t right_value )
{

  TIM_ClockConfigTypeDef sClockSourceConfig = {0};
  TIM_MasterConfigTypeDef sMasterConfig = {0};
  TIM_OC_InitTypeDef sConfigOC = {0};

  htim4.Instance = TIM4;
  htim4.Init.Prescaler = 84-1;
  htim4.Init.CounterMode = TIM_COUNTERMODE_UP;
  htim4.Init.Period = 10000;
  htim4.Init.ClockDivision = TIM_CLOCKDIVISION_DIV1;
  htim4.Init.AutoReloadPreload = TIM_AUTORELOAD_PRELOAD_ENABLE;
  if (HAL_TIM_Base_Init(&htim4) != HAL_OK)
  {
    Error_Handler();
  }
  sClockSourceConfig.ClockSource = TIM_CLOCKSOURCE_INTERNAL;
  if (HAL_TIM_ConfigClockSource(&htim4, &sClockSourceConfig) != HAL_OK)
  {
    Error_Handler();
  }
  if (HAL_TIM_PWM_Init(&htim4) != HAL_OK)
  {
    Error_Handler();
  }
  sMasterConfig.MasterOutputTrigger = TIM_TRGO_RESET;
  sMasterConfig.MasterSlaveMode = TIM_MASTERSLAVEMODE_DISABLE;
  if (HAL_TIMEx_MasterConfigSynchronization(&htim4, &sMasterConfig) != HAL_OK)
  {
    Error_Handler();
  }

  sConfigOC.OCMode = TIM_OCMODE_PWM1;
  sConfigOC.Pulse = left_value;
  sConfigOC.OCPolarity = TIM_OCPOLARITY_HIGH;
  sConfigOC.OCFastMode = TIM_OCFAST_DISABLE;

  if (HAL_TIM_PWM_ConfigChannel(&htim4, &sConfigOC, TIM_CHANNEL_1) != HAL_OK)
  {
    Error_Handler();
  }
  __HAL_TIM_DISABLE_OCxPRELOAD(&htim4, TIM_CHANNEL_1);

  sConfigOC.Pulse = right_value;
  if (HAL_TIM_PWM_ConfigChannel(&htim4, &sConfigOC, TIM_CHANNEL_2) != HAL_OK)
  {
    Error_Handler();
  }
  __HAL_TIM_DISABLE_OCxPRELOAD(&htim4, TIM_CHANNEL_2);
  HAL_TIM_MspPostInit(&htim4);
}
